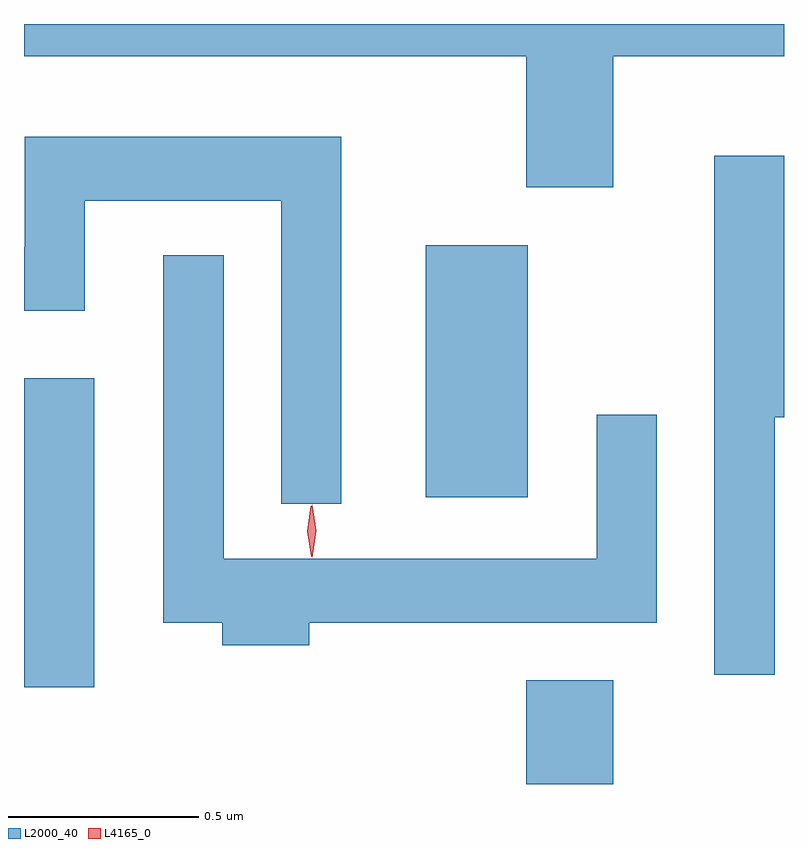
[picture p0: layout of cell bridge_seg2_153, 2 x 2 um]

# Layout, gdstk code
import gdstk
lib = gdstk.Library(unit=1e-6, precision=1e-09)
def R(c, l, rs):  # rectangles x0, y0, x1, y1
    for r in rs: c.add(gdstk.rectangle(r[:2], r[2:], *l))
def P(c, l, *ps):  # polygons
    for p in ps: c.add(gdstk.Polygon(p, *l))
L2000_40 = (2000, 40)
L4165_0 = (4165, 0)

bridge_seg2_153 = lib.new_cell('bridge_seg2_153')
R(bridge_seg2_153, L2000_40, [(1080.951,1104.121,1081.179,1104.394), (1079.629,1104.376,1079.814,1105.189), (1080.686,1104.876,1080.954,1105.539)])
P(bridge_seg2_153, L2000_40, [(1081.179,1106.036),(1081.629,1106.036),(1081.629,1106.121),(1079.629,1106.121),(1079.629,1106.036),(1080.951,1106.036),(1080.951,1105.691),(1081.179,1105.691)],
  [(1080.464,1105.824),(1079.631,1105.824),(1079.631,1105.534),(1079.629,1105.534),(1079.629,1105.366),(1079.789,1105.366),(1079.789,1105.656),(1080.306,1105.656),(1080.306,1104.858),(1080.464,1104.858)],
  [(1081.604,1105.086),(1081.629,1105.086),(1081.629,1105.774),(1081.446,1105.774),(1081.446,1104.408),(1081.604,1104.408)],
  [(1080.379,1104.546),(1081.294,1104.546),(1081.294,1105.093),(1081.136,1105.093),(1081.136,1104.714),(1080.154,1104.714),(1080.154,1105.513),(1079.996,1105.513),(1079.996,1104.546),(1080.151,1104.546),(1080.151,1104.486),(1080.379,1104.486)])
P(bridge_seg2_153, L4165_0, [(1080.385,1104.719),(1080.385,1104.72),(1080.375,1104.786),(1080.384,1104.852),(1080.385,1104.853),(1080.386,1104.852),(1080.395,1104.786),(1080.386,1104.72)],
  [(1080.387,1104.717),(1080.378,1104.787),(1080.387,1104.856),(1080.388,1104.856),(1080.388,1104.856),(1080.398,1104.787),(1080.388,1104.717),(1080.388,1104.717)])

lib.write_gds('bridge_seg2_153.gds')
